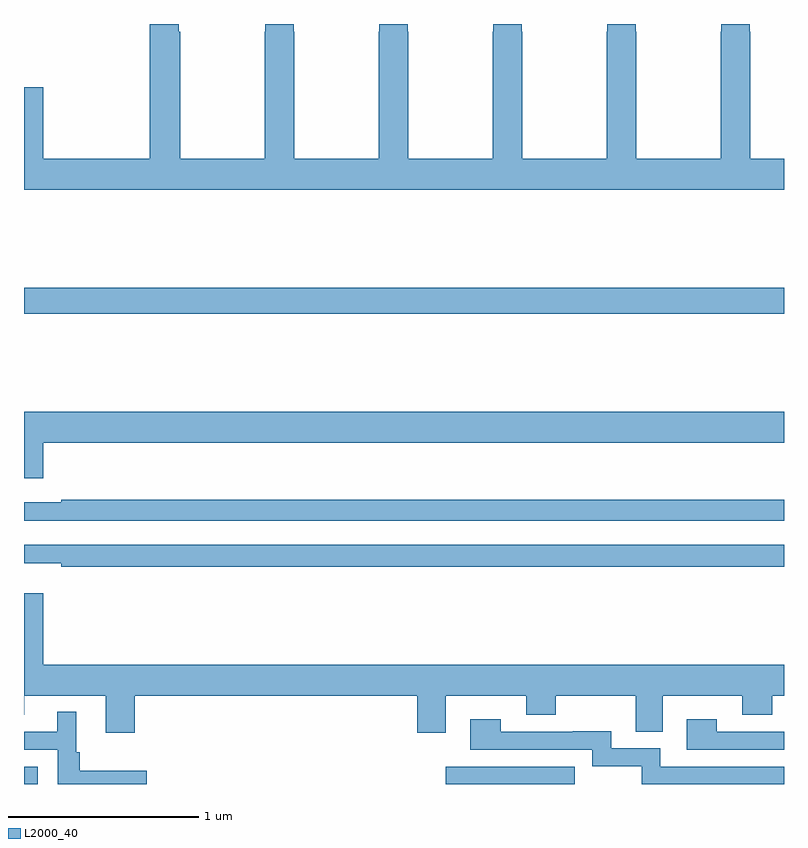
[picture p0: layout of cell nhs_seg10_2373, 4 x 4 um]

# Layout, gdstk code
import gdstk
lib = gdstk.Library(unit=1e-6, precision=1e-09)
def R(c, l, rs):  # rectangles x0, y0, x1, y1
    for r in rs: c.add(gdstk.rectangle(r[:2], r[2:], *l))
def P(c, l, *ps):  # polygons
    for p in ps: c.add(gdstk.Polygon(p, *l))
L2000_40 = (2000, 40)

nhs_seg10_2373 = lib.new_cell('nhs_seg10_2373')
R(nhs_seg10_2373, L2000_40, [(237,1318.5,237.073,1318.591), (239.219,1318.5,239.898,1318.59), (237,1320.976,241,1321.112)])
P(nhs_seg10_2373, L2000_40, [(241,1321.792),(240.822,1321.792),(240.822,1322.459),(240.819,1322.459),(240.819,1322.5),(240.669,1322.5),(240.669,1322.459),(240.667,1322.459),(240.667,1321.792),(240.222,1321.792),(240.222,1322.459),(240.219,1322.459),(240.219,1322.5),(240.069,1322.5),(240.069,1322.459),(240.067,1322.459),(240.067,1321.792),(239.622,1321.792),(239.622,1322.459),(239.619,1322.459),(239.619,1322.5),(239.469,1322.5),(239.469,1322.459),(239.467,1322.459),(239.467,1321.792),(239.022,1321.792),(239.022,1322.459),(239.019,1322.459),(239.019,1322.5),(238.869,1322.5),(238.869,1322.459),(238.867,1322.459),(238.867,1321.792),(238.422,1321.792),(238.422,1322.459),(238.419,1322.459),(238.419,1322.5),(238.269,1322.5),(238.269,1322.459),(238.267,1322.459),(238.267,1321.792),(237.822,1321.792),(237.822,1322.459),(237.815,1322.459),(237.815,1322.5),(237.662,1322.5),(237.662,1321.792),(237.1,1321.792),(237.1,1322.167),(237,1322.167),(237,1321.628),(241,1321.628)],
  [(237.1,1320.296),(241,1320.296),(241,1320.46),(237,1320.46),(237,1320.108),(237.1,1320.108)],
  [(241,1319.995),(237.196,1319.995),(237.196,1319.982),(237,1319.982),(237,1319.886),(241,1319.886)],
  [(241,1319.76),(237,1319.76),(237,1319.663),(237.196,1319.663),(237.196,1319.644),(241,1319.644)],
  [(237.584,1318.964),(239.069,1318.964),(239.069,1318.77),(239.221,1318.77),(239.221,1318.964),(239.644,1318.964),(239.644,1318.865),(239.799,1318.865),(239.799,1318.964),(240.221,1318.964),(240.221,1318.774),(240.361,1318.774),(240.361,1318.964),(240.781,1318.964),(240.781,1318.865),(240.939,1318.865),(240.939,1318.964),(241,1318.964),(241,1319.128),(237.1,1319.128),(237.1,1319.503),(237,1319.503),(237,1318.865),(237.001,1318.865),(237.001,1318.964),(237.431,1318.964),(237.431,1318.77),(237.584,1318.77)],
  [(237.647,1318.57),(237.293,1318.57),(237.293,1318.666),(237.274,1318.666),(237.274,1318.879),(237.176,1318.879),(237.176,1318.776),(237,1318.776),(237,1318.68),(237.177,1318.68),(237.177,1318.5),(237.647,1318.5)],
  [(241,1318.59),(240.349,1318.59),(240.349,1318.689),(240.091,1318.689),(240.091,1318.778),(239.887,1318.778),(239.887,1318.776),(239.51,1318.776),(239.51,1318.84),(239.349,1318.84),(239.349,1318.68),(239.99,1318.68),(239.99,1318.593),(240.252,1318.593),(240.252,1318.5),(241,1318.5)],
  [(241,1318.776),(240.645,1318.776),(240.645,1318.84),(240.489,1318.84),(240.489,1318.68),(241,1318.68)])

lib.write_gds('nhs_seg10_2373.gds')
